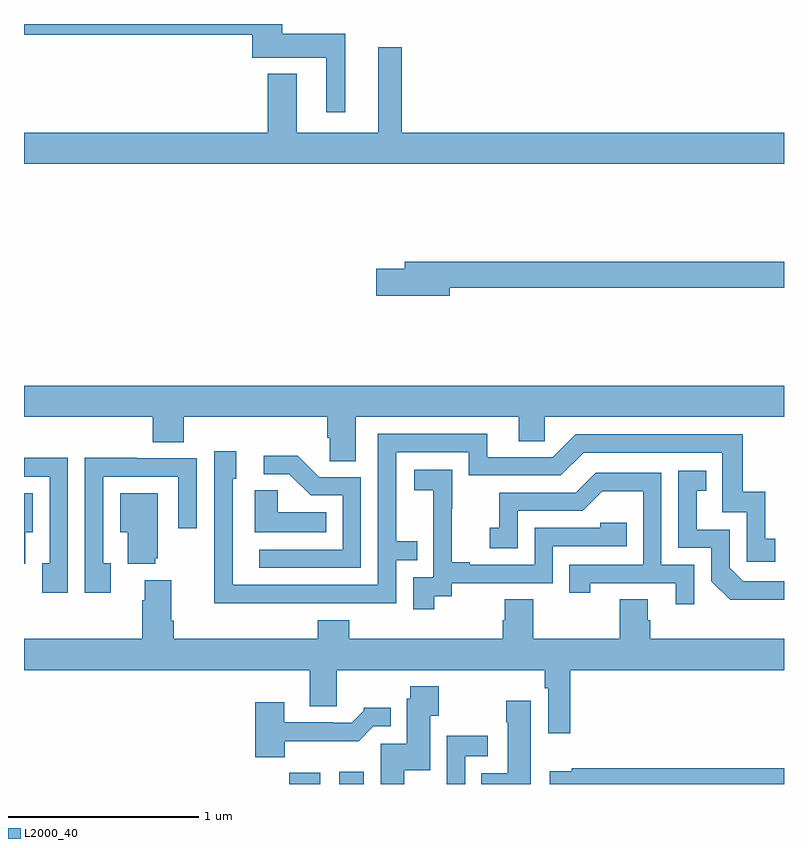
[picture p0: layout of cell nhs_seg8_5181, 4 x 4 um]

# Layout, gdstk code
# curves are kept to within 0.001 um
import gdstk
lib = gdstk.Library(unit=1e-6, precision=1e-09)
def R(c, l, rs):  # rectangles x0, y0, x1, y1
    for r in rs: c.add(gdstk.rectangle(r[:2], r[2:], *l))
def P(c, l, *ps):  # polygons
    for p in ps: c.add(gdstk.Polygon(p, *l))
L2000_40 = (2000, 40)

nhs_seg8_5181 = lib.new_cell('nhs_seg8_5181')
R(nhs_seg8_5181, L2000_40, [(424.396,1115.9,424.558,1115.959), (424.658,1115.9,424.789,1115.965)])
P(nhs_seg8_5181, L2000_40, [(424.69,1119.85),(424.36,1119.85),(424.36,1119.9),(423,1119.9),(423,1119.844),(424.202,1119.844),(424.202,1119.722),(424.592,1119.722),(424.592,1119.435),(424.69,1119.435)],
  [(427,1119.328),(424.987,1119.328),(424.987,1119.778),(424.865,1119.778),(424.865,1119.328),(424.435,1119.328),(424.435,1119.637),(424.283,1119.637),(424.283,1119.328),(423,1119.328),(423,1119.164),(427,1119.164)],
  [(425.242,1118.512),(427,1118.512),(427,1118.648),(425.003,1118.648),(425.003,1118.612),(424.854,1118.612),(424.854,1118.47),(425.242,1118.47)],
  [(424.747,1117.832),(425.603,1117.832),(425.603,1117.705),(425.742,1117.705),(425.742,1117.832),(427,1117.832),(427,1117.996),(423,1117.996),(423,1117.832),(423.677,1117.832),(423.677,1117.699),(423.842,1117.699),(423.842,1117.832),(424.595,1117.832),(424.595,1117.723),(424.608,1117.723),(424.608,1117.6),(424.747,1117.6)],
  [(424.463,1116.852),(424.959,1116.852),(424.959,1117.077),(425.069,1117.077),(425.069,1117.178),(424.959,1117.178),(424.959,1117.647),(425.34,1117.647),(425.34,1117.524),(425.826,1117.524),(425.946,1117.644),(426.675,1117.644),(426.675,1117.329),(426.804,1117.329),(426.804,1117.071),(426.955,1117.071),(426.955,1117.191),(426.902,1117.191),(426.902,1117.438),(426.784,1117.438),(426.784,1117.74),(425.904,1117.74),(425.784,1117.62),(425.437,1117.62),(425.437,1117.743),(424.863,1117.743),(424.863,1116.948),(424.098,1116.948),(424.098,1117.506),(424.117,1117.506),(424.117,1117.651),(424.002,1117.651),(424.002,1117.157),(424,1117.157),(424,1116.851)],
  [(424.773,1117.515),(424.554,1117.515),(424.441,1117.628),(424.263,1117.628),(424.263,1117.53),(424.397,1117.53),(424.508,1117.419),(424.677,1117.419),(424.677,1117.134),(424.239,1117.134),(424.239,1117.038),(424.773,1117.038)],
  [(423.231,1117.616),(423,1117.616),(423,1117.518),(423.135,1117.518),(423.135,1117.062),(423.095,1117.062),(423.095,1116.906),(423.231,1116.906)],
  [(423.457,1117.062),(423.417,1117.062),(423.417,1117.518),(423.813,1117.518),(423.813,1117.245),(423.909,1117.245),(423.909,1117.614),(423.593,1117.614),(423.593,1117.616),(423.321,1117.616),(423.321,1116.906),(423.457,1116.906)],
  [(425.158,1116.889),(425.25,1116.889),(425.25,1116.957),(425.784,1116.957),(425.784,1117.152),(426.173,1117.152),(426.173,1117.275),(426.033,1117.275),(426.033,1117.248),(425.688,1117.248),(425.688,1117.053),(425.347,1117.053),(425.347,1117.066),(425.252,1117.066),(425.252,1117.349),(425.253,1117.349),(425.253,1117.555),(425.055,1117.555),(425.055,1117.445),(425.153,1117.445),(425.153,1117.217),(425.154,1117.217),(425.154,1116.987),(425.049,1116.987),(425.049,1116.819),(425.158,1116.819)],
  [(427,1116.966),(426.786,1116.966),(426.714,1117.038),(426.714,1117.239),(426.541,1117.239),(426.541,1117.443),(426.59,1117.443),(426.59,1117.549),(426.444,1117.549),(426.444,1117.143),(426.618,1117.143),(426.618,1116.966),(426.716,1116.869),(427,1116.869)],
  [(426.528,1117.053),(426.354,1117.053),(426.354,1117.539),(426.008,1117.539),(425.903,1117.434),(425.5,1117.434),(425.5,1117.249),(425.451,1117.249),(425.451,1117.14),(425.598,1117.14),(425.598,1117.338),(425.94,1117.338),(426.044,1117.442),(426.258,1117.442),(426.258,1117.053),(425.869,1117.053),(425.869,1116.906),(425.98,1116.906),(425.98,1116.957),(426.431,1116.957),(426.431,1116.846),(426.528,1116.846)],
  [(424.592,1117.33),(424.335,1117.33),(424.335,1117.445),(424.214,1117.445),(424.214,1117.226),(424.592,1117.226)],
  [(423.692,1117.089),(423.703,1117.089),(423.703,1117.429),(423.506,1117.429),(423.506,1117.226),(423.545,1117.226),(423.545,1117.058),(423.692,1117.058)],
  [(423.007,1117.226),(423.046,1117.226),(423.046,1117.429),(423,1117.429),(423,1117.058),(423.007,1117.058)],
  [(425.876,1116.5),(427,1116.5),(427,1116.664),(426.296,1116.664),(426.296,1116.762),(426.283,1116.762),(426.283,1116.872),(426.136,1116.872),(426.136,1116.664),(425.679,1116.664),(425.679,1116.872),(425.531,1116.872),(425.531,1116.762),(425.519,1116.762),(425.519,1116.664),(424.712,1116.664),(424.712,1116.763),(424.547,1116.763),(424.547,1116.664),(423.788,1116.664),(423.788,1116.76),(423.775,1116.76),(423.775,1116.973),(423.635,1116.973),(423.635,1116.866),(423.623,1116.866),(423.623,1116.664),(423,1116.664),(423,1116.5),(424.505,1116.5),(424.505,1116.31),(424.645,1116.31),(424.645,1116.5),(425.74,1116.5),(425.74,1116.404),(425.76,1116.404),(425.76,1116.168),(425.876,1116.168)],
  [(425.002,1115.972),(425.137,1115.972),(425.137,1116.259),(425.184,1116.259),(425.184,1116.415),(425.032,1116.415),(425.032,1116.348),(425.015,1116.348),(425.015,1116.111),(424.877,1116.111),(424.877,1115.9),(425.002,1115.9)],
  [(425.668,1116.337),(425.539,1116.337),(425.539,1116.224),(425.546,1116.224),(425.546,1115.956),(425.407,1115.956),(425.407,1115.9),(425.668,1115.9)],
  [(424.372,1116.126),(424.761,1116.126),(424.839,1116.204),(424.93,1116.204),(424.93,1116.301),(424.788,1116.301),(424.788,1116.286),(424.724,1116.222),(424.625,1116.222),(424.625,1116.225),(424.369,1116.225),(424.369,1116.331),(424.217,1116.331),(424.217,1116.041),(424.372,1116.041)],
  [(425.322,1116.045),(425.44,1116.045),(425.44,1116.154),(425.226,1116.154),(425.226,1115.9),(425.322,1115.9)],
  [(427,1115.984),(425.884,1115.984),(425.884,1115.966),(425.768,1115.966),(425.768,1115.9),(427,1115.9)])

lib.write_gds('nhs_seg8_5181.gds')
